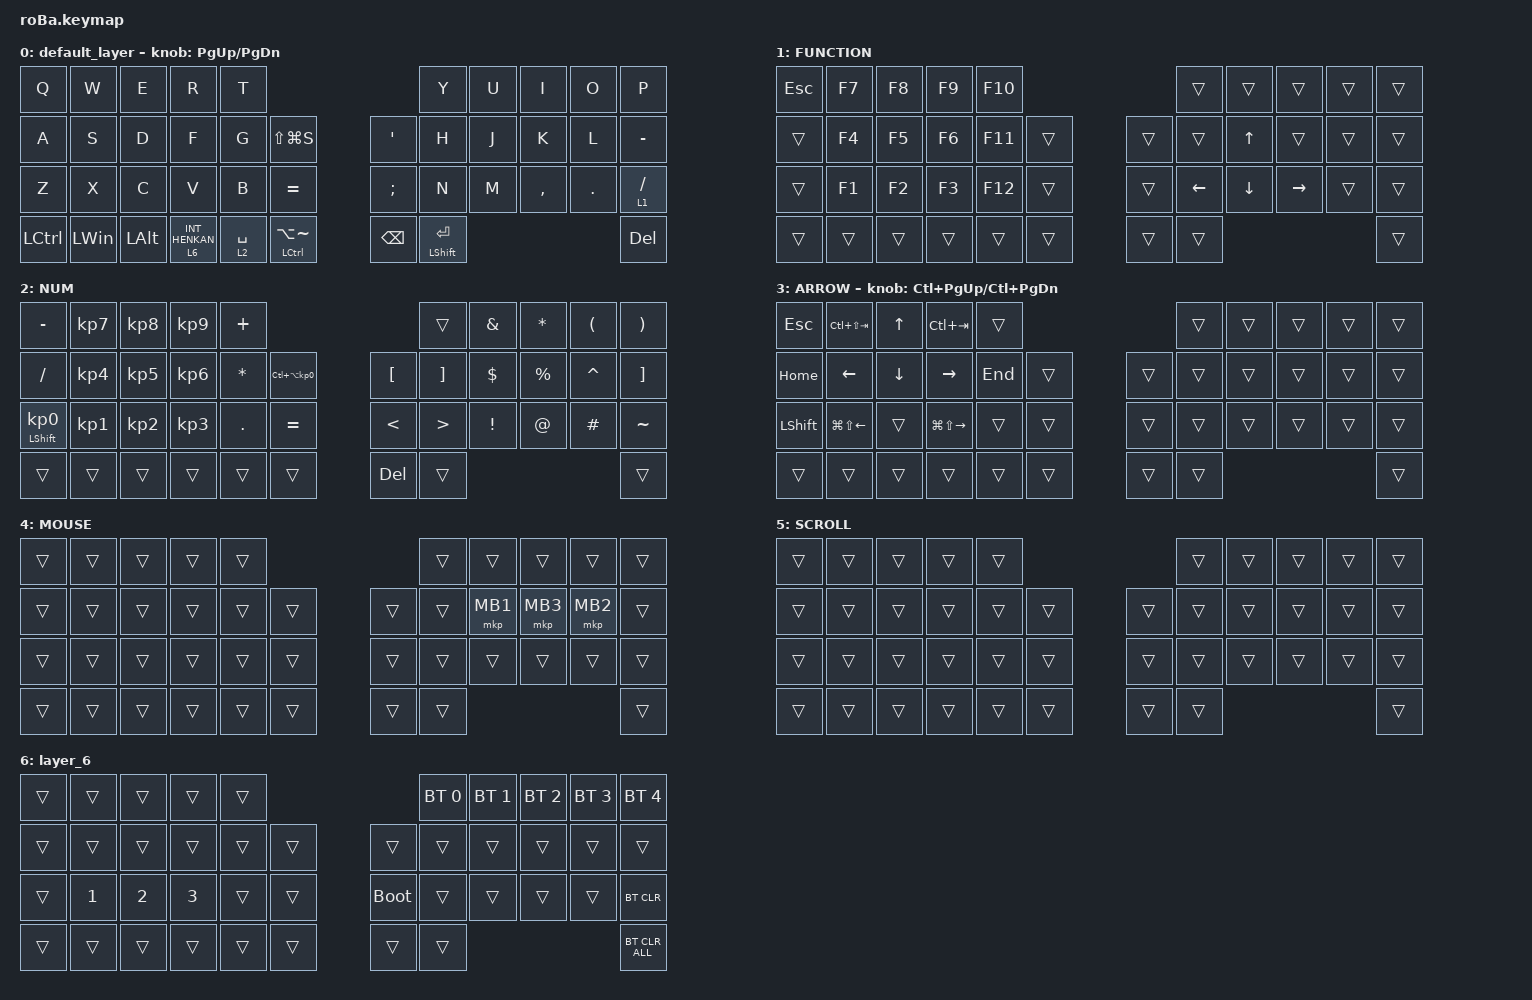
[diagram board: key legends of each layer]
#include <behaviors.dtsi>
#include <dt-bindings/zmk/bt.h>
#include <dt-bindings/zmk/keys.h>
#include <dt-bindings/zmk/pointing.h>
#include <input/processors.dtsi>

&mt {
    flavor = "balanced";
    quick-tap-ms = <0>;
};

&trackball_listener {
    input-processors = <&zip_temp_layer 4 700>;

    scroll_layers {
        layers = <5>;
        input-processors = <&zip_xy_to_scroll_mapper>;
    };

    // arrows {
    //     layers = <3>;
    //     bindings =
    //         <&kp RIGHT_ARROW>,
    //         <&kp LEFT_ARROW>,
    //         <&kp UP_ARROW>,
    //         <&kp DOWN_ARROW>;
    //     tick = <10>;
    //     wait-ms = <5>;
    //     tap-ms = <5>;
    // };
};

/ {
    combos {
        compatible = "zmk,combos";

        tab {
            bindings = <&kp TAB>;
            key-positions = <11 12>;
        };

        shift_tab {
            bindings = <&kp LS(TAB)>;
            key-positions = <12 13>;
        };

        muhennkann {
            bindings = <&to_layer_0 INT_MUHENKAN>;
            key-positions = <11 10>;
        };

        double_quotation {
            bindings = <&kp DOUBLE_QUOTES>;
            key-positions = <20 21>;
        };

        eq {
            bindings = <&kp EQUAL>;
            key-positions = <24 25>;
        };
    };

    macros {
        to_layer_0: to_layer_0 {
            compatible = "zmk,behavior-macro-one-param";
            #binding-cells = <1>;
            bindings = <&to 0 &macro_param_1to1 &kp MACRO_PLACEHOLDER>;
            label = "TO_LAYER_0";
        };
    };

    behaviors {
        lt_to_layer_0: lt_to_layer_0 {
            compatible = "zmk,behavior-hold-tap";
            label = "LAYER_TAP_TO_0";
            bindings = <&mo>, <&to_layer_0>;

            #binding-cells = <2>;
            tapping-term-ms = <200>;
        };
    };

    keymap {
        compatible = "zmk,keymap";

        default_layer {
            bindings = <
&kp Q      &kp W         &kp E         &kp R                        &kp T                                                       &kp Y                 &kp U  &kp I      &kp O    &kp P
&kp A      &kp S         &kp D         &kp F                        &kp G        &kp LS(LG(S))                   &kp SQT        &kp H                 &kp J  &kp K      &kp L    &kp MINUS
&kp Z      &kp X         &kp C         &kp V                        &kp B        &kp EQUAL                       &kp SEMICOLON  &kp N                 &kp M  &kp COMMA  &kp DOT  &lt 1 SLASH
&kp LCTRL  &kp LEFT_WIN  &kp LEFT_ALT  &lt_to_layer_0 6 INT_HENKAN  &lt 2 SPACE  &mt LEFT_CONTROL LA(TILDE)      &kp BACKSPACE  &mt LEFT_SHIFT ENTER                             &kp DEL
            >;

            sensor-bindings = <&inc_dec_kp PG_UP PAGE_DOWN>;
        };

        FUNCTION {
            bindings = <
&kp ESC  &kp F7  &kp F8  &kp F9  &kp F10                      &trans          &trans          &trans           &trans  &trans
&trans   &kp F4  &kp F5  &kp F6  &kp F11  &trans      &trans  &trans          &kp UP_ARROW    &trans           &trans  &trans
&trans   &kp F1  &kp F2  &kp F3  &kp F12  &trans      &trans  &kp LEFT_ARROW  &kp DOWN_ARROW  &kp RIGHT_ARROW  &trans  &trans
&trans   &trans  &trans  &trans  &trans   &trans      &trans  &trans                                                   &trans
            >;
        };

        NUM {
            bindings = <
&kp MINUS                   &kp KP_NUMBER_7  &kp KP_NUMBER_8  &kp KP_NUMBER_9  &kp PLUS                                                     &trans             &kp AMPERSAND    &kp ASTERISK  &kp LEFT_PARENTHESIS  &kp RIGHT_PARENTHESIS
&kp SLASH                   &kp KP_NUMBER_4  &kp KP_NUMBER_5  &kp KP_NUMBER_6  &kp ASTERISK  &kp LC(LA(KP_NUMBER_0))      &kp LEFT_BRACKET  &kp RIGHT_BRACKET  &kp DOLLAR       &kp PERCENT   &kp CARET             &kp RIGHT_BRACKET
&mt LEFT_SHIFT KP_NUMBER_0  &kp KP_NUMBER_1  &kp KP_NUMBER_2  &kp KP_NUMBER_3  &kp PERIOD    &kp EQUAL                    &kp LESS_THAN     &kp GREATER_THAN   &kp EXCLAMATION  &kp AT_SIGN   &kp HASH              &kp TILDE
&trans                      &trans           &trans           &trans           &trans        &trans                       &kp DELETE        &trans                                                                  &trans
            >;
        };

        ARROW {
            bindings = <
&kp ESCAPE      &kp LC(LS(TAB))         &kp UP_ARROW    &kp LC(TAB)              &trans                       &trans  &trans  &trans  &trans  &trans
&kp HOME        &kp LEFT_ARROW          &kp DOWN_ARROW  &kp RIGHT_ARROW          &kp END  &trans      &trans  &trans  &trans  &trans  &trans  &trans
&kp LEFT_SHIFT  &kp LG(LS(LEFT_ARROW))  &trans          &kp LG(LS(RIGHT_ARROW))  &trans   &trans      &trans  &trans  &trans  &trans  &trans  &trans
&trans          &trans                  &trans          &trans                   &trans   &trans      &trans  &trans                          &trans
            >;

            sensor-bindings = <&inc_dec_kp LC(PAGE_UP) LC(PAGE_DOWN)>;
        };

        MOUSE {
            bindings = <
&trans  &trans  &trans  &trans  &trans                      &trans  &trans    &trans    &trans    &trans
&trans  &trans  &trans  &trans  &trans  &trans      &trans  &trans  &mkp MB1  &mkp MB3  &mkp MB2  &trans
&trans  &trans  &trans  &trans  &trans  &trans      &trans  &trans  &trans    &trans    &trans    &trans
&trans  &trans  &trans  &trans  &trans  &trans      &trans  &trans                                &trans
            >;
        };

        SCROLL {
            bindings = <
&trans  &trans  &trans  &trans  &trans                      &trans  &trans  &trans  &trans  &trans
&trans  &trans  &trans  &trans  &trans  &trans      &trans  &trans  &trans  &trans  &trans  &trans
&trans  &trans  &trans  &trans  &trans  &trans      &trans  &trans  &trans  &trans  &trans  &trans
&trans  &trans  &trans  &trans  &trans  &trans      &trans  &trans                          &trans
            >;
        };

        layer_6 {
            bindings = <
&trans  &trans        &trans        &trans        &trans                           &bt BT_SEL 0  &bt BT_SEL 1  &bt BT_SEL 2  &bt BT_SEL 3  &bt BT_SEL 4
&trans  &trans        &trans        &trans        &trans  &trans      &trans       &trans        &trans        &trans        &trans        &trans
&trans  &kp NUMBER_1  &kp NUMBER_2  &kp NUMBER_3  &trans  &trans      &bootloader  &trans        &trans        &trans        &trans        &bt BT_CLR
&trans  &trans        &trans        &trans        &trans  &trans      &trans       &trans                                                  &bt BT_CLR_ALL
            >;
        };
    };
};
